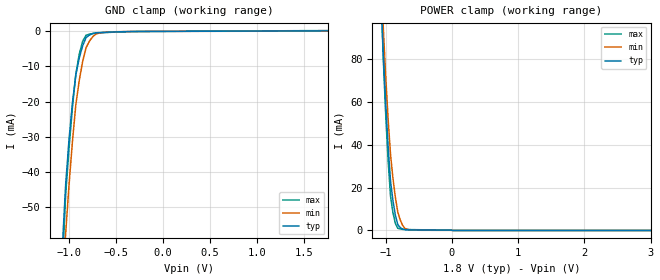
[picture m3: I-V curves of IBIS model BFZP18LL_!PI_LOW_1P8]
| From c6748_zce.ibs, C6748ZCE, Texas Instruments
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|   Model Cell BFZP18LL_!PI_LOW_1P8
|IC1833DVTPBFZP18LL_!PI_LOW_1P8
[Model]   BFZP18LL_!PI_LOW_1P8
Model_type   Input
Polarity   Non-Inverting
Vinl =  0.63
Vinh =  1.17
C_comp   1.254226p   1.200533p   1.264851p
[Model Spec]
Vinl   0.63   0.567   0.693
Vinh   1.17   1.053   1.287
[Temperature Range]   25   125   -40
[Voltage Range]   1.8   1.62   1.98
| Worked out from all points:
|   GND clamp passes 1 mA (typ) near -0.78 V on its own axis
|   POWER clamp passes 1 mA (typ) near -0.76 V on its own axis
[POWER_clamp]
|   voltage   I(typ)   I(min)   I(max)
-1.8V     812.6mA    848.7mA    874.9mA
-1.073V   110.1mA    121.8mA    111.5mA
-1.036V   82.05mA    94.39mA    79.98mA
-1V       58.78mA    71.71mA    53.95mA
-963.6mV  39.1mA     52.05mA    32.63mA
-927.3mV  23.01mA    35.4mA     16.03mA
-890.9mV  13.9mA     24.43mA    8.35mA
-854.5mV  7.152mA    15.52mA    3.351mA
-818.2mV  2.762mA    8.67mA     1.037mA
-709.1mV  356.9uA    948.4uA    479.4uA
-600mV    244.4uA    168.4uA    396.4uA
3.6V      0A         0A         0A
[GND_clamp]
|   voltage   I(typ)   I(min)   I(max)
-1.8V     -593.4mA   -494.6mA   -853.3mA
-1.073V   -62.14mA   -74.14mA   -68.27mA
-1.036V   -43.78mA   -57.66mA   -46.67mA
-1V       -30.76mA   -43.65mA   -33.12mA
-963.6mV  -20.29mA   -31.35mA   -21.59mA
-927.3mV  -12.34mA   -20.77mA   -12.06mA
-890.9mV  -7.584mA   -13.9mA    -6.435mA
-854.5mV  -4.05mA    -8.522mA   -2.773mA
-818.2mV  -1.744mA   -4.623mA   -1.075mA
-745.5mV  -590uA     -1.44mA    -606.5uA
-600mV    -239.8uA   -203.1uA   -329.9uA
1.764V    148.6uA    81.33uA    236.4uA
